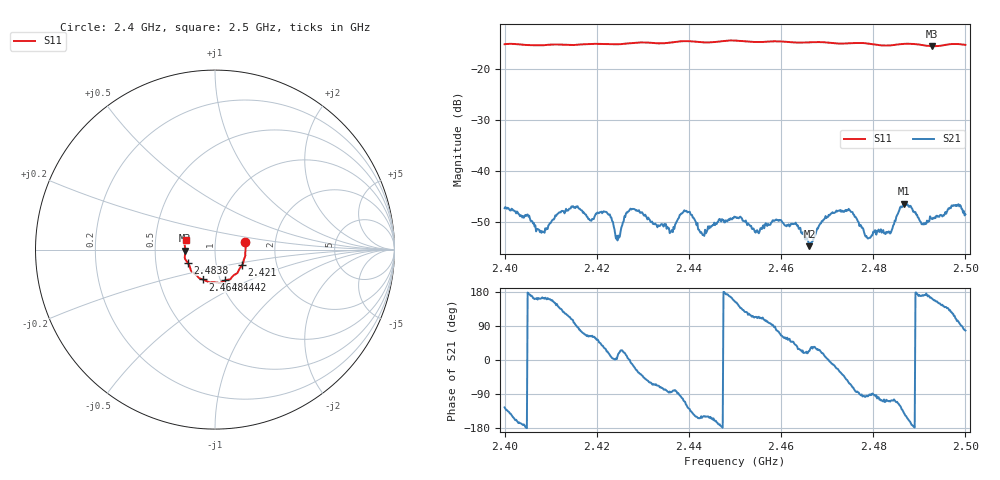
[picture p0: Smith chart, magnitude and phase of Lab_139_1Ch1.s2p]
# Hz S RI R 50
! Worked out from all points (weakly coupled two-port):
!   601 points, 2.4 GHz to 2.5 GHz, reference 50 ohm
!   highest |S21| = -46.44 dB at 2.4867 GHz (marker M1); lowest = -54.7 dB at 2.4662 GHz (marker M2)
!   lowest |S11| = -15.6 dB at 2.4928 GHz (marker M3), VSWR 1.40, Z = 35.8 - j0.374 ohm
!   |S11| at or under -10 dB: start of sweep to end of sweep
!   S12 and S22 are empty: the file has one direction only
!   S11 on the Smith chart (normalised r, x): 2.4 GHz: 1.40, +0.12; 2.421 GHz: 1.33, -0.24; 2.4442 GHz: 1.05, -0.37; 2.4648 GHz: 0.83, -0.28; 2.4838 GHz: 0.73, -0.11; 2.5 GHz: 0.72, +0.08
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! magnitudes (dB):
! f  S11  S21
! 2.4 GHz  -15.2  -47.3
! 2.4082 GHz  -15.4  -51.8
! 2.4167 GHz  -15.3  -47.7
! 2.421 GHz  -15.2  -48.0
! 2.4245 GHz  -15.2  -53.6
! 2.4277 GHz  -15.0  -47.5
! 2.4333 GHz  -15.0  -50.6
! 2.4363 GHz  -14.9  -51.6
! 2.4393 GHz  -14.6  -47.8
! 2.4442 GHz  -14.9  -50.8
! 2.45 GHz  -14.5  -49.0
! 2.4648 GHz  -14.9  -51.9
! 2.4662 GHz  -14.9  -54.7
! 2.4667 GHz  -14.8  -53.9
! 2.4723 GHz  -15.1  -47.8
! 2.4752 GHz  -15.0  -48.0
! 2.4788 GHz  -15.1  -53.2
! 2.4833 GHz  -15.5  -51.8
! 2.4838 GHz  -15.4  -52.1
! 2.4867 GHz  -15.2  -46.4
! 2.4928 GHz  -15.6  -49.4
! 2.5 GHz  -15.3  -48.5
